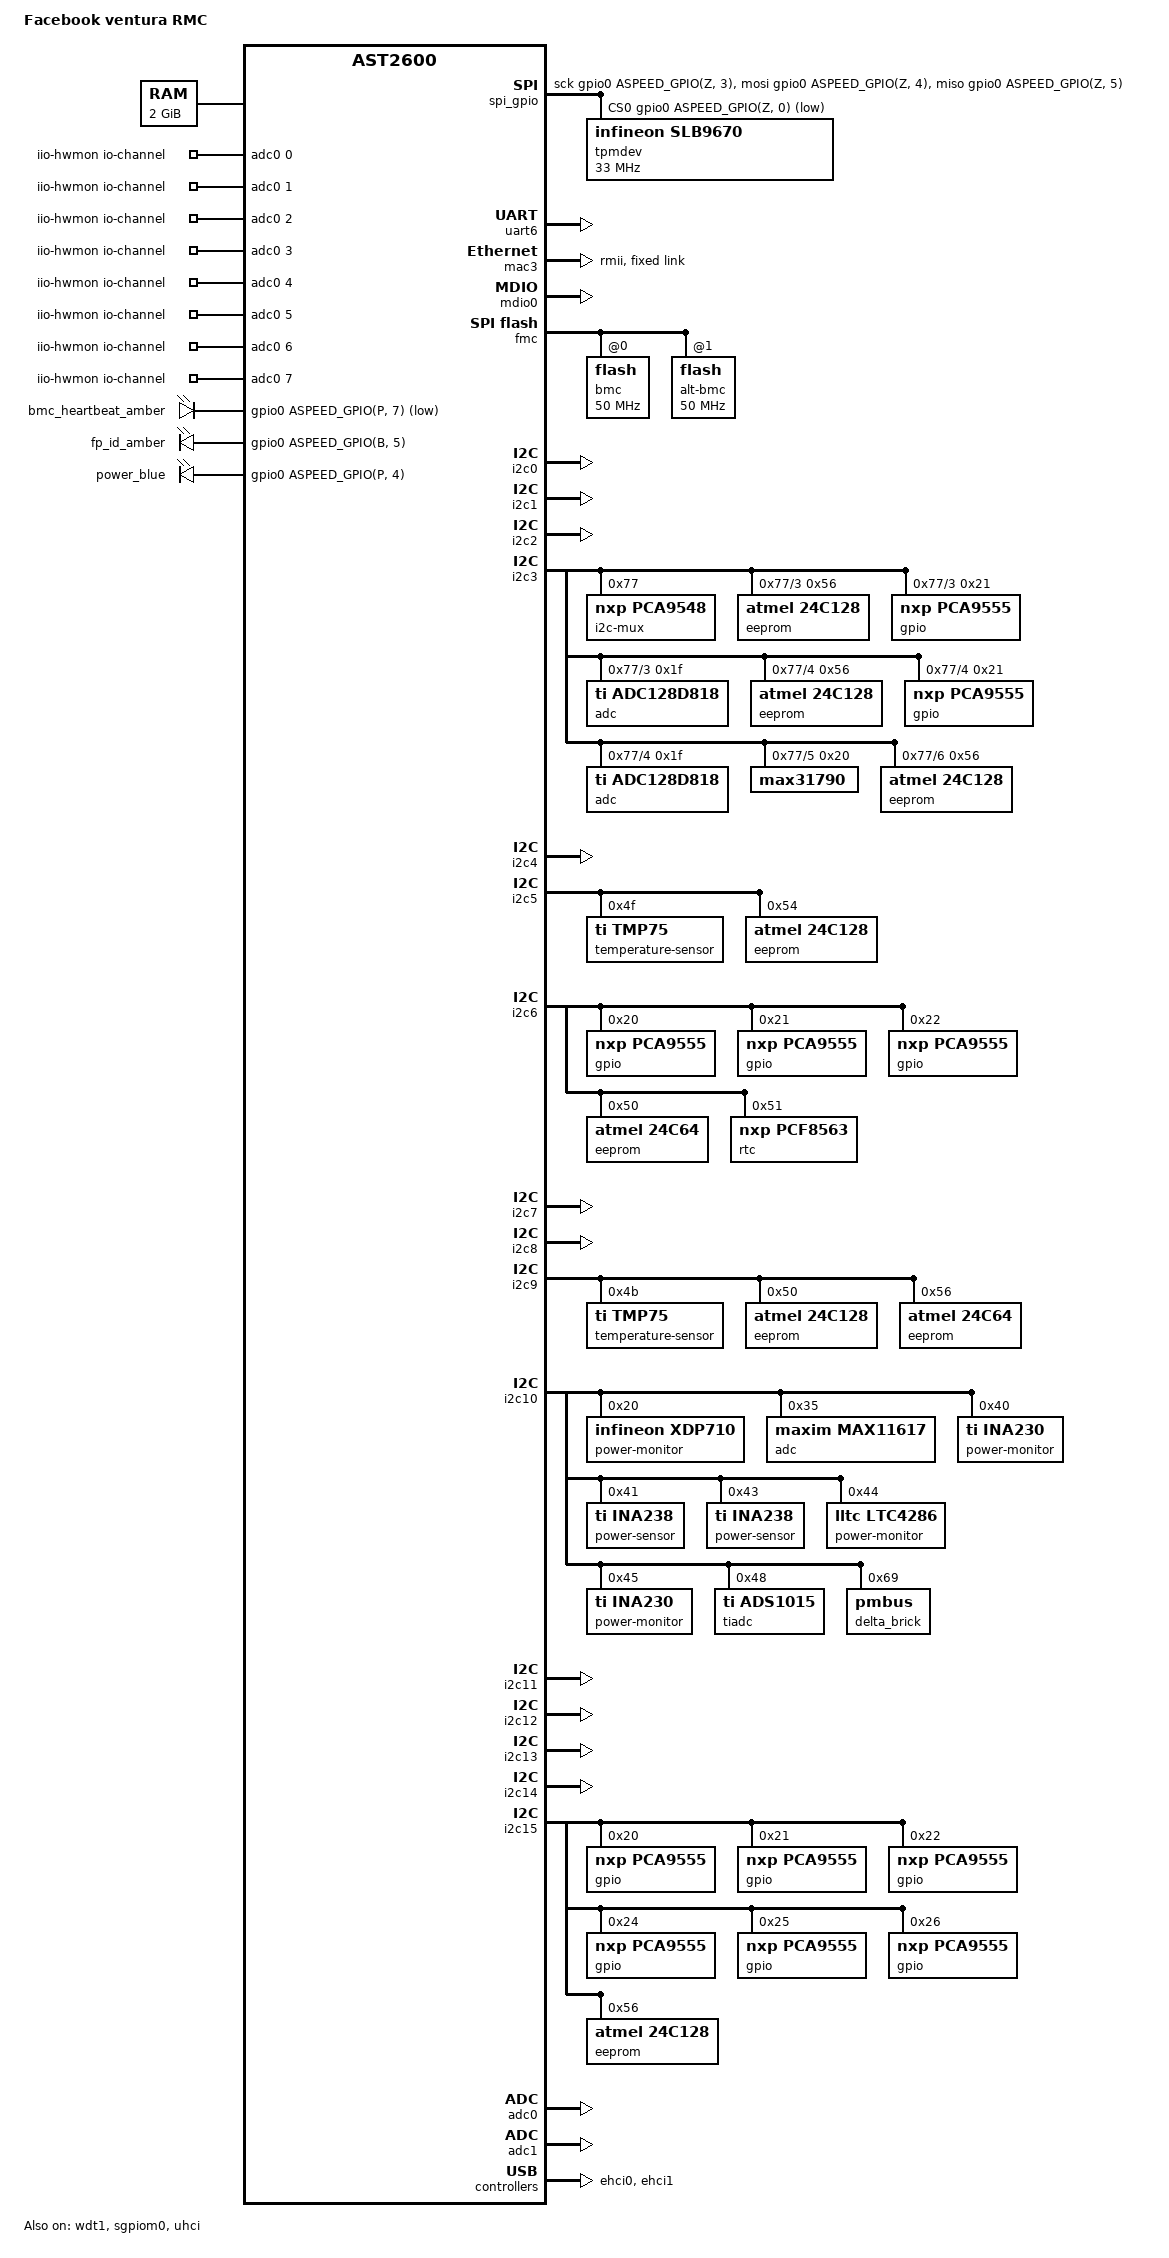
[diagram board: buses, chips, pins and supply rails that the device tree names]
// SPDX-License-Identifier: GPL-2.0+
// Copyright (c) 2023 Facebook Inc.
/dts-v1/;

#include "aspeed-g6.dtsi"
#include <dt-bindings/gpio/aspeed-gpio.h>
#include <dt-bindings/i2c/i2c.h>

/ {
	model = "Facebook ventura RMC";
	compatible = "facebook,ventura-cmc", "aspeed,ast2600";

	aliases {
		serial4 = &uart5;
		serial5 = &uart6;
		/*
		 * PCA9548 (2-0077) provides 8 channels connecting to
		 * 6 pcs of FCB (Fan Controller Board).
		 */
		i2c16 = &imux16;
		i2c17 = &imux17;
		i2c18 = &imux18;
		i2c19 = &imux19;

		spi1 = &spi_gpio;
	};

	chosen {
		stdout-path = "serial5:57600n8";
	};

	memory@80000000 {
		device_type = "memory";
		reg = <0x80000000 0x80000000>;
	};

	iio-hwmon {
		compatible = "iio-hwmon";
		io-channels = <&adc0 0>, <&adc0 1>, <&adc0 2>, <&adc0 3>,
			<&adc0 4>, <&adc0 5>, <&adc0 6>, <&adc0 7>,
			<&adc1 2>;
	};

	leds {
		compatible = "gpio-leds";

		led-0 {
			label = "bmc_heartbeat_amber";
			gpios = <&gpio0 ASPEED_GPIO(P, 7) GPIO_ACTIVE_LOW>;
			linux,default-trigger = "heartbeat";
		};

		led-1 {
			label = "fp_id_amber";
			default-state = "off";
			gpios = <&gpio0 ASPEED_GPIO(B, 5) GPIO_ACTIVE_HIGH>;
		};

		led-2 {
			label = "power_blue";
			default-state = "off";
			gpios = <&gpio0 ASPEED_GPIO(P, 4) GPIO_ACTIVE_HIGH>;
		};
	};

	spi_gpio: spi-gpio {
		status = "okay";
		compatible = "spi-gpio";
		#address-cells = <1>;
		#size-cells = <0>;

		gpio-sck = <&gpio0 ASPEED_GPIO(Z, 3) GPIO_ACTIVE_HIGH>;
		gpio-mosi = <&gpio0 ASPEED_GPIO(Z, 4) GPIO_ACTIVE_HIGH>;
		gpio-miso = <&gpio0 ASPEED_GPIO(Z, 5) GPIO_ACTIVE_HIGH>;
		num-chipselects = <1>;
		cs-gpios = <&gpio0 ASPEED_GPIO(Z, 0) GPIO_ACTIVE_LOW>;

		tpmdev@0 {
			compatible = "infineon,slb9670", "tcg,tpm_tis-spi";
			spi-max-frequency = <33000000>;
			reg = <0>;
		};
	};
};

&uart6 {
	status = "okay";
};

&wdt1 {
	status = "okay";
	pinctrl-names = "default";
	pinctrl-0 = <&pinctrl_wdtrst1_default>;
	aspeed,reset-type = "soc";
	aspeed,external-signal;
	aspeed,ext-push-pull;
	aspeed,ext-active-high;
	aspeed,ext-pulse-duration = <256>;
};

&mac3 {
	status = "okay";
	phy-mode = "rmii";
	pinctrl-names = "default";
	pinctrl-0 = <&pinctrl_rmii4_default>;
	fixed-link {
		speed = <100>;
		full-duplex;
	};
};

&mdio0 {
	status = "okay";
};

&fmc {
	status = "okay";
	flash@0 {
		status = "okay";
		m25p,fast-read;
		label = "bmc";
		spi-max-frequency = <50000000>;
#include "openbmc-flash-layout-128.dtsi"
	};
	flash@1 {
		status = "okay";
		m25p,fast-read;
		label = "alt-bmc";
		spi-max-frequency = <50000000>;
	};
};

&sgpiom0 {
	status = "okay";
	ngpios = <128>;
	bus-frequency = <2000000>;
};

&i2c0 {
	status = "okay";
};

&i2c1 {
	status = "okay";
};

&i2c2 {
	status = "okay";
};

&i2c3 {
	status = "okay";

	i2c-mux@77 {
		compatible = "nxp,pca9548";
		reg = <0x77>;
		#address-cells = <1>;
		#size-cells = <0>;
		i2c-mux-idle-disconnect;

		imux16: i2c@3 {
			#address-cells = <1>;
			#size-cells = <0>;
			reg = <3>;

			eeprom@56 {
				compatible = "atmel,24c128";
				reg = <0x56>;
			};

			gpio@20 {
				compatible = "nxp,pca9555";
				reg = <0x21>;
				gpio-controller;
				#gpio-cells = <2>;
			};

			adc@1f {
				compatible = "ti,adc128d818";
				reg = <0x1f>;
				ti,mode = /bits/ 8 <1>;
			};
		};

		imux17: i2c@4 {
			#address-cells = <1>;
			#size-cells = <0>;
			reg = <4>;

			eeprom@56 {
				compatible = "atmel,24c128";
				reg = <0x56>;
			};

			gpio@20 {
				compatible = "nxp,pca9555";
				reg = <0x21>;
				gpio-controller;
				#gpio-cells = <2>;
			};

			adc@1f {
				compatible = "ti,adc128d818";
				reg = <0x1f>;
				ti,mode = /bits/ 8 <1>;
			};
		};

		imux18: i2c@5 {
			#address-cells = <1>;
			#size-cells = <0>;
			reg = <5>;

			max31790@20 {
				compatible = "max31790";
				reg = <0x20>;
				#address-cells = <1>;
				#size-cells = <0>;
			};
		};

		imux19: i2c@6 {
			#address-cells = <1>;
			#size-cells = <0>;
			reg = <6>;

			eeprom@56 {
				compatible = "atmel,24c128";
				reg = <0x56>;
			};
		};
	};
};

&i2c4 {
	status = "okay";
};

&i2c5 {
	status = "okay";

	temperature-sensor@4f {
		compatible = "ti,tmp75";
		reg = <0x4f>;
	};

	eeprom@54 {
		compatible = "atmel,24c128";
		reg = <0x54>;
	};
};

&i2c6 {
	status = "okay";

	gpio@20 {
		compatible = "nxp,pca9555";
		reg = <0x20>;
		gpio-controller;
		#gpio-cells = <2>;
	};

	gpio@21 {
		compatible = "nxp,pca9555";
		reg = <0x21>;
		gpio-controller;
		#gpio-cells = <2>;
	};

	gpio@22 {
		compatible = "nxp,pca9555";
		reg = <0x22>;
		gpio-controller;
		#gpio-cells = <2>;
	};

	eeprom@50 {
		compatible = "atmel,24c64";
		reg = <0x50>;
	};

	rtc@51 {
		compatible = "nxp,pcf8563";
		reg = <0x51>;
	};
};

&i2c7 {
	status = "okay";
};

&i2c8 {
	status = "okay";
};

&i2c9 {
	status = "okay";

	temperature-sensor@4b {
		compatible = "ti,tmp75";
		reg = <0x4b>;
	};

	eeprom@50 {
		compatible = "atmel,24c128";
		reg = <0x50>;
	};

	eeprom@56 {
		compatible = "atmel,24c64";
		reg = <0x56>;
	};
};

&i2c10 {
	status = "okay";

	power-monitor@20 {
		compatible = "infineon,xdp710";
		reg = <0x20>;
 	};

	adc@35 {
		compatible = "maxim,max11617";
		reg = <0x35>;
	};

	power-monitor@40 {
		compatible = "ti,ina230";
		reg = <0x40>;
		shunt-resistor = <1000>;
	};

	power-sensor@41 {
		compatible = "ti,ina238";
		reg = <0x41>;
		shunt-resistor = <20000>;	/* 0.02 R */
	};

	power-sensor@43 {
		compatible = "ti,ina238";
		reg = <0x43>;
		shunt-resistor = <20000>;	/* 0.02 R */
	};

	power-monitor@44 {
		compatible = "lltc,ltc4286";
		reg = <0x44>;
	};

	power-monitor@45 {
		compatible = "ti,ina230";
		reg = <0x45>;
		shunt-resistor = <1000>;
	};

    tiadc: adc@48 {
        compatible = "ti,ads1015";
        reg = <0x48>;
        #io-channel-cells = <1>;

        #address-cells = <1>;
        #size-cells = <0>;

        channel@0 { /* IN0,IN1 differential */
            reg = <0>;
            ti,gain = <1>;
            ti,datarate = <4>;
        };
    };		

	delta_brick@69 {
		compatible = "pmbus";
		reg = <0x69>;
	};	
};

&i2c11 {
	status = "okay";
};

&i2c12 {
	status = "okay";
};

&i2c13 {
	status = "okay";
};

&i2c14 {
	status = "okay";
};

&i2c15 {
	status = "okay";

	gpio@20 {
		compatible = "nxp,pca9555";
		reg = <0x20>;
		gpio-controller;
		#gpio-cells = <2>;
	};

	gpio@21 {
		compatible = "nxp,pca9555";
		reg = <0x21>;
		gpio-controller;
		#gpio-cells = <2>;
	};

	gpio@22 {
		compatible = "nxp,pca9555";
		reg = <0x22>;
		gpio-controller;
		#gpio-cells = <2>;
	};

	gpio@24 {
		compatible = "nxp,pca9555";
		reg = <0x24>;
		gpio-controller;
		#gpio-cells = <2>;
	};

	gpio@25 {
		compatible = "nxp,pca9555";
		reg = <0x25>;
		gpio-controller;
		#gpio-cells = <2>;
	};

	gpio@26 {
		compatible = "nxp,pca9555";
		reg = <0x26>;
		gpio-controller;
		#gpio-cells = <2>;
	};

	eeprom@56 {
		compatible = "atmel,24c128";
		reg = <0x56>;
	};
};

&adc0 {
	aspeed,int-vref-microvolt = <1800000>;
	status = "okay";
	pinctrl-0 = <&pinctrl_adc0_default &pinctrl_adc1_default
		&pinctrl_adc2_default &pinctrl_adc3_default
		&pinctrl_adc4_default &pinctrl_adc5_default
		&pinctrl_adc6_default &pinctrl_adc7_default>;
};

&adc1 {
	aspeed,int-vref-microvolt = <2500000>;
	status = "okay";
	pinctrl-0 = <&pinctrl_adc10_default>;
};

&ehci0 {
	status = "okay";
};

&ehci1 {
	status = "okay";
};

&uhci {
	status = "okay";
};

&gpio0 {
	gpio-line-names =
	/*A0-A7*/	"","","","","","","","",
	/*B0-B7*/	"","","","","","","","",
	/*C0-C7*/	"","","","","","","","",
	/*D0-D7*/	"","","","","","","","",
	/*E0-E7*/	"","","","","","","","",
	/*F0-F7*/	"","","","","","","","",
	/*G0-G7*/	"","","","","","","","",
	/*H0-H7*/	"","","","","","","","",
	/*I0-I7*/	"","","","","","","","",
	/*J0-J7*/	"","","","","","","","",
	/*K0-K7*/	"","","","","","","","",
	/*L0-L7*/	"","","","","","","","",
	/*M0-M7*/	"","","","","","","","",
	/*N0-N7*/	"","","","","","","","",
	/*O0-O7*/	"","","","","","","","",
	/*P0-P7*/	"","","","","","","","",
	/*Q0-Q7*/	"","","","","","","","",
	/*R0-R7*/	"","","","","","","","",
	/*S0-S7*/	"","","","","","","","",
	/*T0-T7*/	"","","","","","","","",
	/*U0-U7*/	"","","","","","","","",
	/*V0-V7*/	"","","","","","","","",
	/*W0-W7*/	"","","","","","","","",
	/*X0-X7*/	"","","","","","","","",
	/*Y0-Y7*/	"","","","","","","","",
	/*Z0-Z7*/	"","","","","","","","";
};
